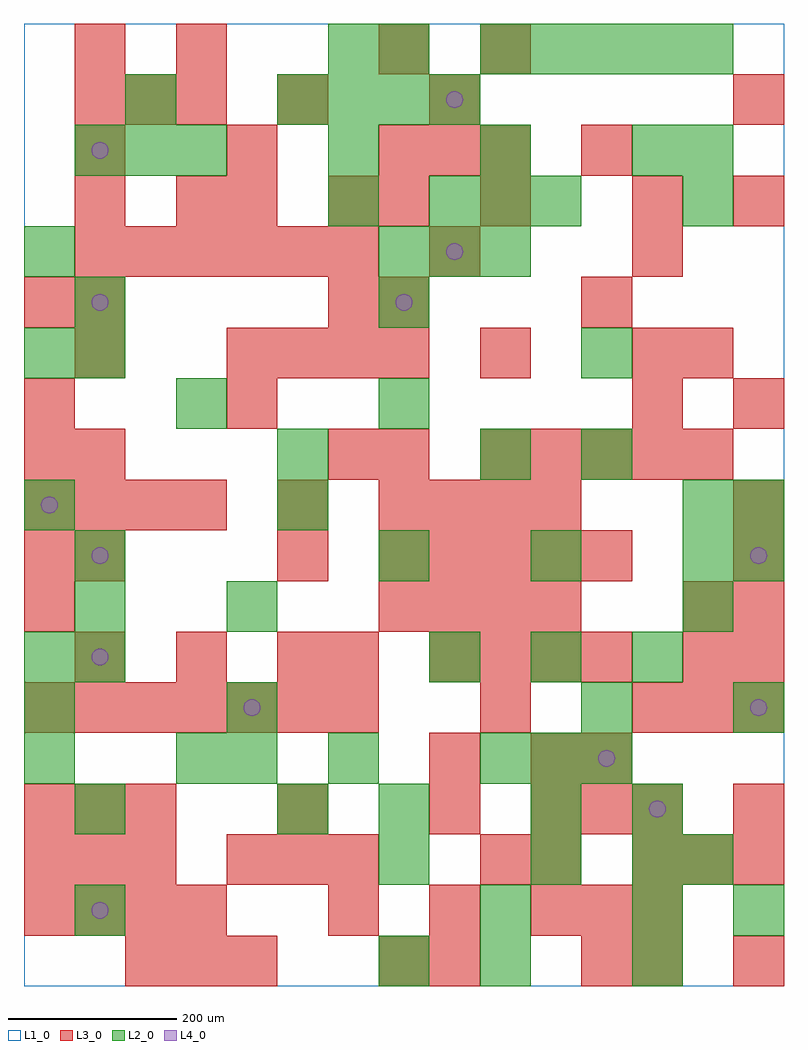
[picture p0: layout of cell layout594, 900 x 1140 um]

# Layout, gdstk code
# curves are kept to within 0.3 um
import gdstk
lib = gdstk.Library(unit=1e-6, precision=1e-09)
def R(c, l, rs):  # rectangles x0, y0, x1, y1
    for r in rs: c.add(gdstk.rectangle(r[:2], r[2:], *l))
def A(c, l, x, y, w, h, nx, ny, dx, dy):  # array of equal rectangles
    R(c, l, [(x+i*dx, y+j*dy, x+i*dx+w, y+j*dy+h) for i in range(nx) for j in range(ny)])
def P(c, l, *ps):  # polygons
    for p in ps: c.add(gdstk.Polygon(p, *l))
L1_0 = (1, 0)
L2_0 = (2, 0)
L3_0 = (3, 0)
L4_0 = (4, 0)

layout594 = lib.new_cell('layout594')
R(layout594, L1_0, [(0,0,900,1140)])
A(layout594, L2_0, 720, 0, 60, 60, 1, 4, 0, 60)
A(layout594, L2_0, 0, 240, 60, 60, 1, 3, 0, 60)
A(layout594, L2_0, 540, 240, 60, 60, 3, 1, 60, 0)
A(layout594, L2_0, 60, 360, 60, 60, 1, 3, 0, 60)
A(layout594, L2_0, 480, 360, 60, 60, 3, 1, 120, 0)
A(layout594, L2_0, 420, 480, 60, 60, 3, 1, 180, 0)
A(layout594, L2_0, 420, 840, 60, 60, 3, 1, 60, 0)
A(layout594, L2_0, 480, 900, 60, 60, 3, 1, 60, 0)
A(layout594, L2_0, 60, 960, 60, 60, 3, 1, 60, 0)
A(layout594, L2_0, 360, 960, 60, 60, 3, 1, 180, 0)
A(layout594, L2_0, 300, 1020, 60, 60, 4, 1, 60, 0)
A(layout594, L2_0, 540, 1080, 60, 60, 5, 1, 60, 0)
R(layout594, L2_0, [(420,0,480,60), (540,0,600,60), (60,60,120,120), (540,60,600,120), (840,60,900,120), (420,120,480,180), (600,120,660,180), (780,120,840,180), (60,180,120,240), (300,180,360,240), (420,180,480,240), (600,180,660,240), (180,240,240,300), (240,240,300,300), (360,240,420,300), (240,300,300,360), (660,300,720,360), (840,300,900,360), (240,420,300,480), (780,420,840,480), (840,480,900,540), (0,540,60,600), (300,540,360,600), (780,540,840,600), (840,540,900,600), (300,600,360,660), (540,600,600,660), (660,600,720,660), (180,660,240,720), (420,660,480,720), (0,720,60,780), (60,720,120,780), (660,720,720,780), (60,780,120,840), (420,780,480,840), (0,840,60,900), (360,900,420,960), (780,900,840,960), (780,960,840,1020), (120,1020,180,1080), (360,1080,420,1140), (420,1080,480,1140)])
A(layout594, L3_0, 120, 0, 60, 60, 3, 1, 60, 0)
A(layout594, L3_0, 840, 0, 60, 60, 1, 3, 0, 180)
A(layout594, L3_0, 0, 60, 60, 60, 4, 2, 60, 480)
A(layout594, L3_0, 360, 60, 60, 60, 3, 1, 120, 0)
A(layout594, L3_0, 0, 120, 60, 60, 3, 2, 60, 60)
A(layout594, L3_0, 240, 120, 60, 60, 3, 1, 60, 0)
A(layout594, L3_0, 720, 120, 60, 60, 3, 2, 60, 180)
A(layout594, L3_0, 600, 180, 60, 60, 3, 1, 60, 0)
A(layout594, L3_0, 0, 300, 60, 60, 7, 1, 60, 0)
A(layout594, L3_0, 60, 360, 60, 60, 3, 1, 120, 0)
A(layout594, L3_0, 480, 360, 60, 60, 4, 1, 60, 0)
A(layout594, L3_0, 420, 420, 60, 60, 4, 2, 60, 120)
A(layout594, L3_0, 840, 420, 60, 60, 1, 3, 0, 60)
A(layout594, L3_0, 60, 480, 60, 60, 1, 3, 0, 120)
A(layout594, L3_0, 420, 480, 60, 60, 5, 1, 60, 0)
A(layout594, L3_0, 540, 600, 60, 60, 5, 1, 60, 0)
A(layout594, L3_0, 240, 720, 60, 60, 4, 1, 60, 0)
A(layout594, L3_0, 60, 840, 60, 60, 6, 1, 60, 0)
A(layout594, L3_0, 60, 960, 60, 60, 3, 1, 180, 0)
A(layout594, L3_0, 60, 1020, 60, 60, 3, 1, 60, 0)
R(layout594, L3_0, [(420,0,480,60), (480,0,540,60), (660,0,720,60), (720,0,780,60), (660,60,720,120), (720,60,780,120), (540,120,600,180), (600,120,660,180), (300,180,360,240), (480,180,540,240), (480,240,540,300), (600,240,660,300), (660,240,720,300), (540,300,600,360), (360,360,420,420), (780,360,840,420), (0,420,60,480), (780,420,840,480), (0,480,60,540), (300,480,360,540), (300,540,360,600), (0,600,60,660), (360,600,420,660), (420,600,480,660), (0,660,60,720), (240,660,300,720), (720,660,780,720), (840,660,900,720), (540,720,600,780), (720,720,780,780), (780,720,840,780), (0,780,60,840), (60,780,120,840), (360,780,420,840), (420,780,480,840), (660,780,720,840), (480,840,540,900), (720,840,780,900), (60,900,120,960), (180,900,240,960), (240,900,300,960), (360,900,420,960), (420,900,480,960), (540,900,600,960), (720,900,780,960), (840,900,900,960), (480,960,540,1020), (540,960,600,1020), (660,960,720,1020), (300,1020,360,1080), (480,1020,540,1080), (840,1020,900,1080), (60,1080,120,1140), (180,1080,240,1140), (420,1080,480,1140), (540,1080,600,1140)])
P(layout594, L4_0, [(40,570),(39.239,573.827),(37.071,577.071),(33.827,579.239),(30,580),(26.173,579.239),(22.929,577.071),(20.761,573.827),(20,570),(20.761,566.173),(22.929,562.929),(26.173,560.761),(30,560),(33.827,560.761),(37.071,562.929),(39.239,566.173)],
  [(100,90),(99.239,93.827),(97.071,97.071),(93.827,99.239),(90,100),(86.173,99.239),(82.929,97.071),(80.761,93.827),(80,90),(80.761,86.173),(82.929,82.929),(86.173,80.761),(90,80),(93.827,80.761),(97.071,82.929),(99.239,86.173)],
  [(100,390),(99.239,393.827),(97.071,397.071),(93.827,399.239),(90,400),(86.173,399.239),(82.929,397.071),(80.761,393.827),(80,390),(80.761,386.173),(82.929,382.929),(86.173,380.761),(90,380),(93.827,380.761),(97.071,382.929),(99.239,386.173)],
  [(100,510),(99.239,513.827),(97.071,517.071),(93.827,519.239),(90,520),(86.173,519.239),(82.929,517.071),(80.761,513.827),(80,510),(80.761,506.173),(82.929,502.929),(86.173,500.761),(90,500),(93.827,500.761),(97.071,502.929),(99.239,506.173)],
  [(100,810),(99.239,813.827),(97.071,817.071),(93.827,819.239),(90,820),(86.173,819.239),(82.929,817.071),(80.761,813.827),(80,810),(80.761,806.173),(82.929,802.929),(86.173,800.761),(90,800),(93.827,800.761),(97.071,802.929),(99.239,806.173)],
  [(100,990),(99.239,993.827),(97.071,997.071),(93.827,999.239),(90,1000),(86.173,999.239),(82.929,997.071),(80.761,993.827),(80,990),(80.761,986.173),(82.929,982.929),(86.173,980.761),(90,980),(93.827,980.761),(97.071,982.929),(99.239,986.173)],
  [(280,330),(279.239,333.827),(277.071,337.071),(273.827,339.239),(270,340),(266.173,339.239),(262.929,337.071),(260.761,333.827),(260,330),(260.761,326.173),(262.929,322.929),(266.173,320.761),(270,320),(273.827,320.761),(277.071,322.929),(279.239,326.173)],
  [(460,810),(459.239,813.827),(457.071,817.071),(453.827,819.239),(450,820),(446.173,819.239),(442.929,817.071),(440.761,813.827),(440,810),(440.761,806.173),(442.929,802.929),(446.173,800.761),(450,800),(453.827,800.761),(457.071,802.929),(459.239,806.173)],
  [(520,870),(519.239,873.827),(517.071,877.071),(513.827,879.239),(510,880),(506.173,879.239),(502.929,877.071),(500.761,873.827),(500,870),(500.761,866.173),(502.929,862.929),(506.173,860.761),(510,860),(513.827,860.761),(517.071,862.929),(519.239,866.173)],
  [(520,1050),(519.239,1053.827),(517.071,1057.071),(513.827,1059.239),(510,1060),(506.173,1059.239),(502.929,1057.071),(500.761,1053.827),(500,1050),(500.761,1046.173),(502.929,1042.929),(506.173,1040.761),(510,1040),(513.827,1040.761),(517.071,1042.929),(519.239,1046.173)],
  [(700,270),(699.239,273.827),(697.071,277.071),(693.827,279.239),(690,280),(686.173,279.239),(682.929,277.071),(680.761,273.827),(680,270),(680.761,266.173),(682.929,262.929),(686.173,260.761),(690,260),(693.827,260.761),(697.071,262.929),(699.239,266.173)],
  [(760,210),(759.239,213.827),(757.071,217.071),(753.827,219.239),(750,220),(746.173,219.239),(742.929,217.071),(740.761,213.827),(740,210),(740.761,206.173),(742.929,202.929),(746.173,200.761),(750,200),(753.827,200.761),(757.071,202.929),(759.239,206.173)],
  [(880,330),(879.239,333.827),(877.071,337.071),(873.827,339.239),(870,340),(866.173,339.239),(862.929,337.071),(860.761,333.827),(860,330),(860.761,326.173),(862.929,322.929),(866.173,320.761),(870,320),(873.827,320.761),(877.071,322.929),(879.239,326.173)],
  [(880,510),(879.239,513.827),(877.071,517.071),(873.827,519.239),(870,520),(866.173,519.239),(862.929,517.071),(860.761,513.827),(860,510),(860.761,506.173),(862.929,502.929),(866.173,500.761),(870,500),(873.827,500.761),(877.071,502.929),(879.239,506.173)])

lib.write_gds('layout594.gds')
